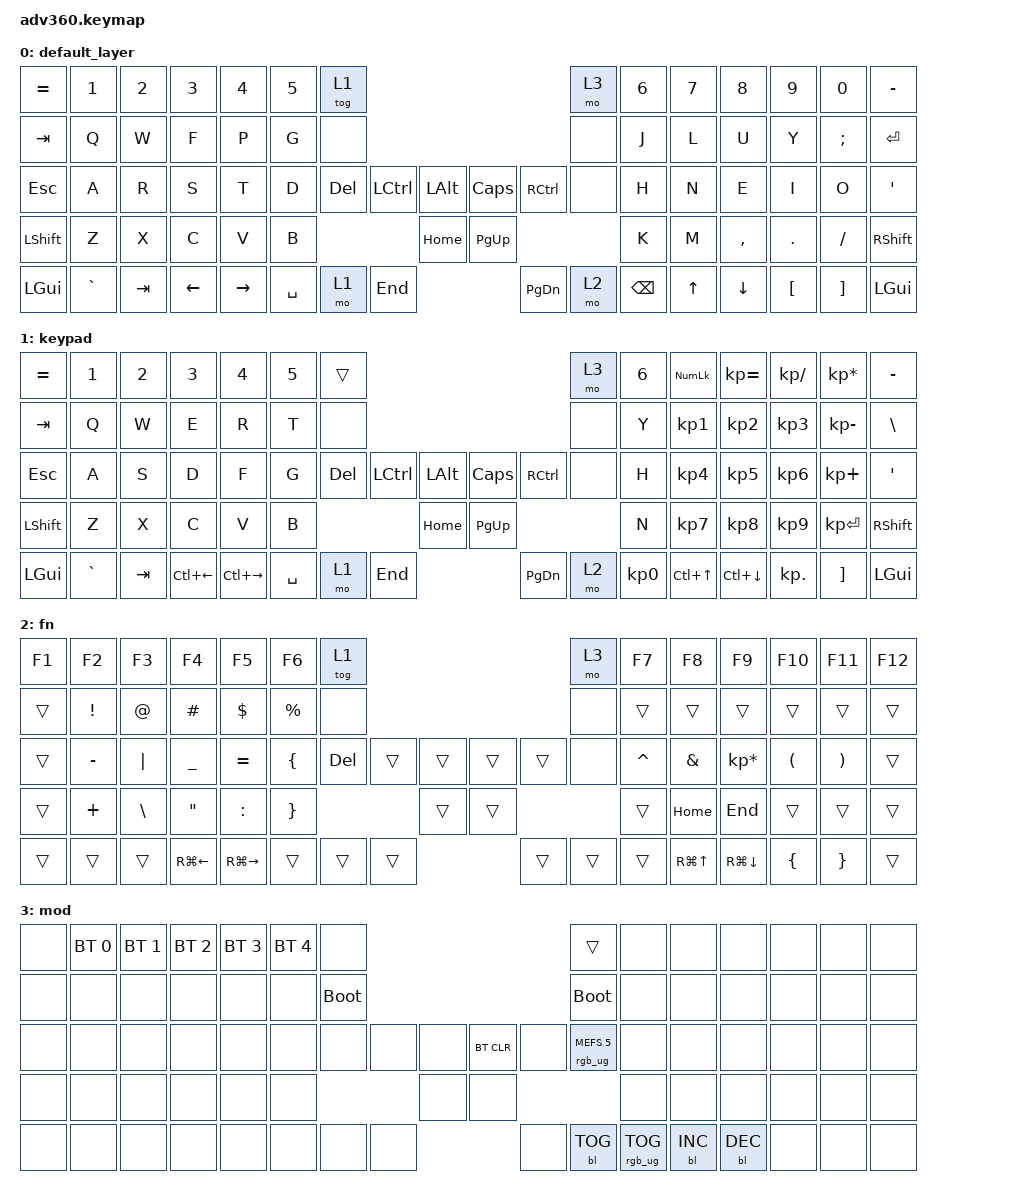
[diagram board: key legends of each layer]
#include <behaviors.dtsi>
#include <dt-bindings/zmk/keys.h>
#include <dt-bindings/zmk/bt.h>
#include <dt-bindings/zmk/rgb.h>
#include <dt-bindings/zmk/backlight.h>

/ {
    behaviors {
      #include "macros.dtsi"

      hm: homerow_mods {
          compatible = "zmk,behavior-hold-tap";
          label = "HOMEROW_MODS";
          #binding-cells = <2>;
          tapping-term-ms = <200>;
          quick_tap_ms = <175>;
          flavor = "tap-preferred";
          bindings = <&kp>, <&kp>;
      };
    };

  keymap {
    compatible = "zmk,keymap";

    default_layer {
      bindings = <
        &kp EQUAL &kp N1    &kp N2   &kp N3   &kp N4     &kp N5 &tog 1                                                           &mo 3 &kp N6 &kp N7 &kp N8    &kp N9   &kp N0   &kp MINUS
        &kp TAB   &kp Q     &kp W    &kp F    &kp P      &kp G  &none                                                            &none &kp J  &kp L  &kp U     &kp Y    &kp SEMI &kp ENTER
        &kp ESC   &kp A     &kp R    &kp S    &kp T      &kp D  &kp DEL           &kp LCTRL &kp LALT &kp CAPS  &kp RCTRL           &none &kp H  &kp N  &kp E     &kp I    &kp O    &kp SQT
        &kp LSHFT &kp Z     &kp X    &kp C    &kp V      &kp B                            &kp HOME &kp PG_UP                           &kp K  &kp M  &kp COMMA &kp DOT  &kp FSLH &kp RSHFT
        &kp LGUI     &kp GRAVE &kp TAB &kp LEFT &kp RIGHT                &kp SPACE &mo 1 &kp END  &kp PG_DN &mo 2  &kp BSPC             &kp UP &kp DOWN  &kp LBKT &kp RBKT &kp LGUI
      >;
    };
    keypad {
      bindings = <
        &kp EQUAL &kp N1    &kp N2   &kp N3   &kp N4     &kp N5 &trans                                                           &mo 3 &kp N6 &kp KP_NUM &kp KP_EQUAL &kp KP_DIVIDE &kp KP_MULTIPLY &kp MINUS
        &kp TAB   &kp Q     &kp W    &kp E    &kp R      &kp T  &none                                                            &none &kp Y  &kp KP_N1  &kp KP_N2    &kp KP_N3     &kp KP_MINUS    &kp BSLH
        &kp ESC   &kp A     &kp S    &kp D    &kp F      &kp G  &kp DEL           &kp LCTRL &kp LALT &kp CAPS  &kp RCTRL           &none &kp H  &kp KP_N4  &kp KP_N5    &kp KP_N6     &kp KP_PLUS     &kp SQT
        &kp LSHFT &kp Z     &kp X    &kp C    &kp V      &kp B                            &kp HOME &kp PG_UP                           &kp N  &kp KP_N7  &kp KP_N8    &kp KP_N9     &kp KP_ENTER    &kp RSHFT
        &kp LGUI  &kp GRAVE &kp TAB &kp LC(LEFT) &kp LC(RIGHT)                  &kp SPACE &mo 1   &kp END  &kp PG_DN &mo 2 &kp KP_N0              &kp LC(UP) &kp LC(DOWN)     &kp KP_DOT    &kp RBKT        &kp LGUI
      >;
    };
    fn {
      bindings = <
        &kp F1 &kp F2    &kp F3     &kp F4     &kp F5    &kp F6    &tog 1                                           &mo 3 &kp F7     &kp F8    &kp F9           &kp F10   &kp F11   &kp F12
        &trans &kp EXCL  &kp AT     &kp HASH   &kp DLLR  &kp PRCNT &none                                            &none &trans     &trans    &trans           &trans    &trans    &trans
        &trans &kp MINUS &kp PIPE   &kp UNDER  &kp EQUAL &kp LBRC   &kp DEL    &trans &trans &trans &trans            &none &kp CARET  &kp AMPS  &kp KP_MULTIPLY  &kp LPAR  &kp RPAR  &trans
        &trans &kp PLUS  &kp BSLH   &kp DQT   &kp COLON  &kp RBRC                      &trans &trans                       &trans     &kp HOME  &kp END           &trans    &trans    &trans
        &trans &trans    &trans     &kp RG(LEFT) &kp RG(RIGHT)                  &trans &trans &trans &trans &trans &trans                        &kp RG(UP) &kp RG(DOWN)          &kp LBRC  &kp RBRC  &trans
      >;
    };
    mod {
      bindings = <
        &none &bt BT_SEL 0 &bt BT_SEL 1 &bt BT_SEL 2 &bt BT_SEL 3 &bt BT_SEL 4 &none                                                                     &trans                 &none        &none        &none        &none &none &none
        &none &none        &none        &none        &none        &none        &bootloader                                                               &bootloader            &none        &none        &none        &none &none &none
        &none &none        &none        &none        &none        &none        &none                   &none &none &bt BT_CLR &none                      &rgb_ug RGB_MEFS_CMD 5 &none        &none        &none        &none &none &none
        &none &none        &none        &none        &none        &none                                      &none &none                                                        &none        &none        &none        &none &none &none
        &none &none        &none        &none        &none                                       &none &none &none &none      &bl BL_TOG &rgb_ug RGB_TOG                                     &bl BL_INC   &bl BL_DEC   &none &none &none
      >;
    };
  };
};
